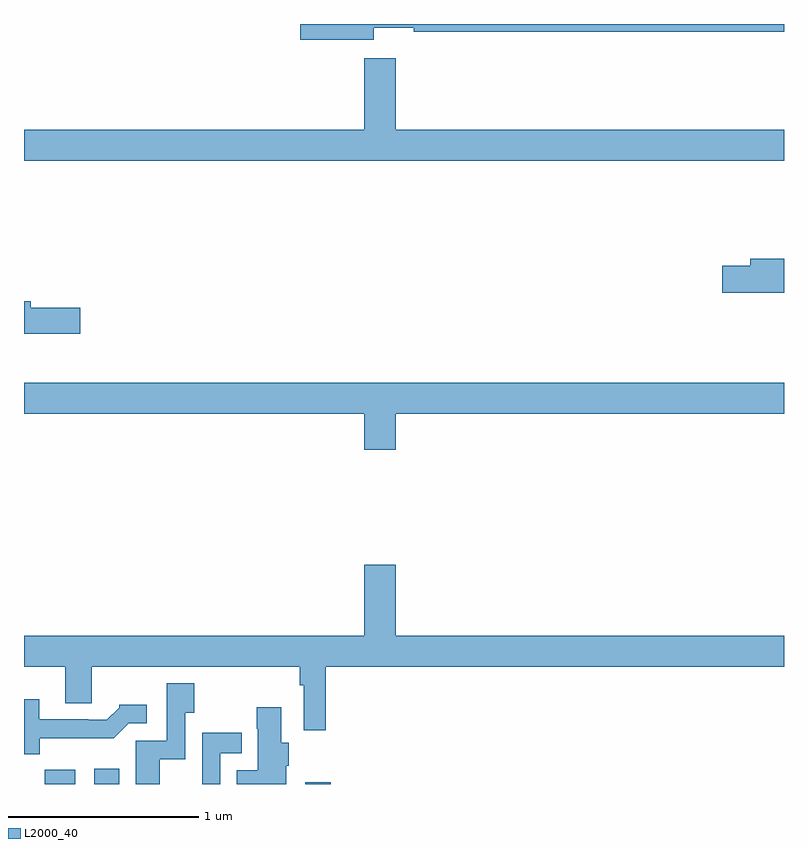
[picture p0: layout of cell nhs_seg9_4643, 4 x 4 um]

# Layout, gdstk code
import gdstk
lib = gdstk.Library(unit=1e-6, precision=1e-09)
def R(c, l, rs):  # rectangles x0, y0, x1, y1
    for r in rs: c.add(gdstk.rectangle(r[:2], r[2:], *l))
def P(c, l, *ps):  # polygons
    for p in ps: c.add(gdstk.Polygon(p, *l))
L2000_40 = (2000, 40)

nhs_seg9_4643 = lib.new_cell('nhs_seg9_4643')
R(nhs_seg9_4643, L2000_40, [(379.108,1166.5,379.27,1166.575), (379.37,1166.5,379.501,1166.581), (380.48,1166.5,380.615,1166.509)])
P(nhs_seg9_4643, L2000_40, [(380.842,1170.479),(381.052,1170.479),(381.052,1170.46),(383,1170.46),(383,1170.5),(380.454,1170.5),(380.454,1170.418),(380.842,1170.418)],
  [(383,1169.944),(380.956,1169.944),(380.956,1170.319),(380.792,1170.319),(380.792,1169.944),(379,1169.944),(379,1169.78),(383,1169.78)],
  [(383,1169.264),(382.823,1169.264),(382.823,1169.228),(382.674,1169.228),(382.674,1169.086),(383,1169.086)],
  [(379.297,1169.006),(379.036,1169.006),(379.036,1169.042),(379,1169.042),(379,1168.871),(379.297,1168.871)],
  [(380.956,1168.448),(383,1168.448),(383,1168.612),(379,1168.612),(379,1168.448),(380.792,1168.448),(380.792,1168.26),(380.956,1168.26)],
  [(380.588,1167.116),(383,1167.116),(383,1167.28),(380.956,1167.28),(380.956,1167.655),(380.792,1167.655),(380.792,1167.28),(379,1167.28),(379,1167.116),(379.217,1167.116),(379.217,1166.926),(379.357,1166.926),(379.357,1167.116),(380.452,1167.116),(380.452,1167.02),(380.472,1167.02),(380.472,1166.784),(380.588,1166.784)],
  [(379.714,1166.63),(379.848,1166.63),(379.848,1166.875),(379.896,1166.875),(379.896,1167.031),(379.752,1167.031),(379.752,1166.727),(379.589,1166.727),(379.589,1166.5),(379.714,1166.5)],
  [(379.084,1166.742),(379.473,1166.742),(379.551,1166.82),(379.645,1166.82),(379.645,1166.917),(379.5,1166.917),(379.5,1166.902),(379.436,1166.838),(379.337,1166.838),(379.337,1166.841),(379.081,1166.841),(379.081,1166.947),(379,1166.947),(379,1166.657),(379.084,1166.657)],
  [(380.38,1166.596),(380.393,1166.596),(380.393,1166.718),(380.353,1166.718),(380.353,1166.905),(380.224,1166.905),(380.224,1166.792),(380.231,1166.792),(380.231,1166.572),(380.119,1166.572),(380.119,1166.5),(380.38,1166.5)],
  [(380.034,1166.661),(380.146,1166.661),(380.146,1166.769),(379.938,1166.769),(379.938,1166.5),(380.034,1166.5)])

lib.write_gds('nhs_seg9_4643.gds')
